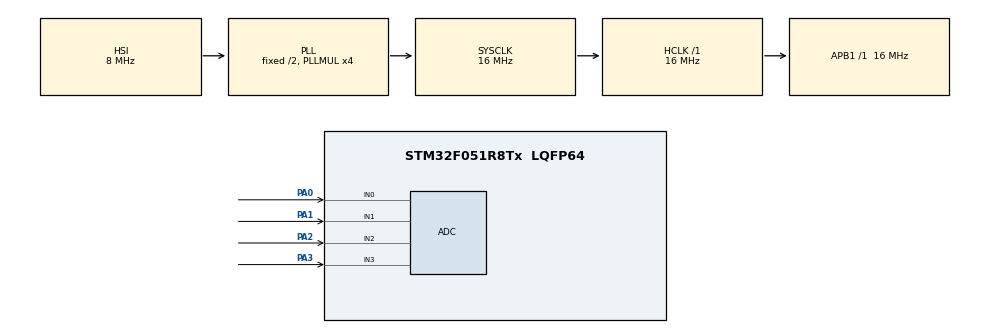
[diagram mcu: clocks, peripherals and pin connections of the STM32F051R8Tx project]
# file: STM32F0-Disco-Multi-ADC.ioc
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ADC.ContinuousConvMode=DISABLE
ADC.DMAContinuousRequests=ENABLE
ADC.EOCSelection=ADC_EOC_SINGLE_CONV
ADC.ExternalTrigConv=ADC_EXTERNALTRIGCONV_T1_TRGO
ADC.Overrun=ADC_OVR_DATA_OVERWRITTEN
ADC.SamplingTime=ADC_SAMPLETIME_71CYCLES_5
Dma.ADC.0.Direction=DMA_PERIPH_TO_MEMORY
Dma.ADC.0.Instance=DMA1_Channel1
Dma.ADC.0.MemDataAlignment=DMA_MDATAALIGN_WORD
Dma.ADC.0.MemInc=DMA_MINC_ENABLE
Dma.ADC.0.Mode=DMA_CIRCULAR
Dma.ADC.0.PeriphDataAlignment=DMA_PDATAALIGN_WORD
Dma.ADC.0.PeriphInc=DMA_PINC_DISABLE
Dma.ADC.0.Priority=DMA_PRIORITY_MEDIUM
Dma.Request0=ADC
Mcu.Family=STM32F0
Mcu.Name=STM32F051R8Tx
Mcu.Package=LQFP64
NVIC.DMA1_Channel1_IRQn=true\:0\:0\:false\:false\:true\:false\:true\:true
NVIC.TIM1_BRK_UP_TRG_COM_IRQn=true\:0\:0\:false\:false\:true\:true\:true\:true
PA0.Mode=IN0
PA0.Signal=ADC_IN0
PA1.Mode=IN1
PA1.Signal=ADC_IN1
PA13.Mode=Serial_Wire
PA13.Signal=SYS_SWDIO
PA14.Mode=Serial_Wire
PA14.Signal=SYS_SWCLK
PA2.Mode=IN2
PA2.Signal=ADC_IN2
PA3.Mode=IN3
PA3.Signal=ADC_IN3
PC14-OSC32_IN.Mode=LSE-External-Clock-Source
PC14-OSC32_IN.Signal=RCC_OSC32_IN
PF0-OSC_IN.Mode=HSE-External-Clock-Source
PF0-OSC_IN.Signal=RCC_OSC_IN
ProjectManager.HeapSize=0x200
ProjectManager.StackSize=0x400
ProjectManager.TargetToolchain=STM32CubeIDE
RCC.AHBFreq_Value=16000000
RCC.APB1Freq_Value=16000000
RCC.APB1TimFreq_Value=16000000
RCC.HCLKFreq_Value=16000000
RCC.PLLMUL=RCC_PLL_MUL4
RCC.SYSCLKFreq_VALUE=16000000
RCC.SYSCLKSource=RCC_SYSCLKSOURCE_PLLCLK
TIM1.TIM_MasterOutputTrigger=TIM_TRGO_UPDATE
VP_TIM1_VS_ClockSourceINT.Mode=Internal
board=custom

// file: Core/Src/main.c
/* USER CODE END Header */
#include "main.h"

/* USER CODE BEGIN Includes */
#include "stdio.h"
#include "string.h"
/* USER CODE END Includes */

ADC_HandleTypeDef hadc;

DMA_HandleTypeDef hdma_adc;

TIM_HandleTypeDef htim1;

void SystemClock_Config(void);
static void MX_GPIO_Init(void);
static void MX_DMA_Init(void);
static void MX_ADC_Init(void);
static void MX_TIM1_Init(void);

/* USER CODE BEGIN 0 */
uint32_t data[4];
uint32_t ADC_Buffer[4];

char IN0[16] ="";
char IN1[16] ="";
char IN2[16] ="";
char IN3[16] ="";

void HAL_ADC_ConvCpltCallback(ADC_HandleTypeDef* hadc)
{

	HAL_GPIO_TogglePin(GPIOC, GPIO_PIN_8);

	HAL_Delay(100);
/*
		for(int i = 0; i<4;i++)
		{
			data[i] = ADC_Buffer[i];
		}
*/
}
void ADC_DMAConvCplt(DMA_HandleTypeDef *hdma)
{
	HAL_GPIO_TogglePin(GPIOC, GPIO_PIN_8);

	HAL_Delay(100);
}

/* USER CODE END 0 */

int main(void)
{

  /* MCU Configuration--------------------------------------------------------*/

  /* Reset of all peripherals, Initializes the Flash interface and the Systick. */
  HAL_Init();

  /* Configure the system clock */
  SystemClock_Config();

  /* Initialize all configured peripherals */
  MX_GPIO_Init();
  MX_DMA_Init();
  MX_ADC_Init();
  MX_TIM1_Init();
  /* USER CODE BEGIN 2 */

  HAL_TIM_Base_Start_IT(&htim1);

  HAL_ADCEx_Calibration_Start(&hadc);

  /* USER CODE END 2 */

  HAL_ADC_Start_DMA(&hadc, (uint32_t*)ADC_Buffer, sizeof(ADC_Buffer)/sizeof(ADC_Buffer[0]));

  /* Infinite loop */
   while (1)
   {

    /* USER CODE BEGIN 3 */

 	  sprintf(IN0,"ADC IN0 =%d",(const char)ADC_Buffer[0]);
 	  sprintf(IN1,"ADC IN1 =%d",(const char)ADC_Buffer[1]);
 	  sprintf(IN2,"ADC IN2 =%d",(const char)ADC_Buffer[2]);
 	  sprintf(IN3,"ADC IN3 =%d",(const char)ADC_Buffer[3]);
   }
  /* USER CODE END 3 */
}

void SystemClock_Config(void)
{
  RCC_OscInitTypeDef RCC_OscInitStruct = {0};
  RCC_ClkInitTypeDef RCC_ClkInitStruct = {0};

  /** Initializes the RCC Oscillators according to the specified parameters
  * in the RCC_OscInitTypeDef structure.
  */
  RCC_OscInitStruct.OscillatorType = RCC_OSCILLATORTYPE_HSI|RCC_OSCILLATORTYPE_HSI14;
  RCC_OscInitStruct.HSIState = RCC_HSI_ON;
  RCC_OscInitStruct.HSI14State = RCC_HSI14_ON;
  RCC_OscInitStruct.HSICalibrationValue = RCC_HSICALIBRATION_DEFAULT;
  RCC_OscInitStruct.HSI14CalibrationValue = 16;
  RCC_OscInitStruct.PLL.PLLState = RCC_PLL_ON;
  RCC_OscInitStruct.PLL.PLLSource = RCC_PLLSOURCE_HSI;
  RCC_OscInitStruct.PLL.PLLMUL = RCC_PLL_MUL4;
  RCC_OscInitStruct.PLL.PREDIV = RCC_PREDIV_DIV1;
  if (HAL_RCC_OscConfig(&RCC_OscInitStruct) != HAL_OK)
  {
    Error_Handler();
  }

  /** Initializes the CPU, AHB and APB buses clocks
  */
  RCC_ClkInitStruct.ClockType = RCC_CLOCKTYPE_HCLK|RCC_CLOCKTYPE_SYSCLK
                              |RCC_CLOCKTYPE_PCLK1;
  RCC_ClkInitStruct.SYSCLKSource = RCC_SYSCLKSOURCE_PLLCLK;
  RCC_ClkInitStruct.AHBCLKDivider = RCC_SYSCLK_DIV1;
  RCC_ClkInitStruct.APB1CLKDivider = RCC_HCLK_DIV1;

  if (HAL_RCC_ClockConfig(&RCC_ClkInitStruct, FLASH_LATENCY_0) != HAL_OK)
  {
    Error_Handler();
  }
}

static void MX_ADC_Init(void)
{

  ADC_ChannelConfTypeDef sConfig = {0};

  /** Configure the global features of the ADC (Clock, Resolution, Data Alignment and number of conversion)
  */
  hadc.Instance = ADC1;
  hadc.Init.ClockPrescaler = ADC_CLOCK_ASYNC_DIV1;
  hadc.Init.Resolution = ADC_RESOLUTION_12B;
  hadc.Init.DataAlign = ADC_DATAALIGN_RIGHT;
  hadc.Init.ScanConvMode = ADC_SCAN_DIRECTION_FORWARD;
  hadc.Init.EOCSelection = ADC_EOC_SINGLE_CONV;
  hadc.Init.LowPowerAutoWait = DISABLE;
  hadc.Init.LowPowerAutoPowerOff = DISABLE;
  hadc.Init.ContinuousConvMode = DISABLE;
  hadc.Init.DiscontinuousConvMode = DISABLE;
  hadc.Init.ExternalTrigConv = ADC_EXTERNALTRIGCONV_T1_TRGO;
  hadc.Init.ExternalTrigConvEdge = ADC_EXTERNALTRIGCONVEDGE_RISING;
  hadc.Init.DMAContinuousRequests = ENABLE;
  hadc.Init.Overrun = ADC_OVR_DATA_OVERWRITTEN;
  if (HAL_ADC_Init(&hadc) != HAL_OK)
  {
    Error_Handler();
  }

  /** Configure for the selected ADC regular channel to be converted.
  */
  sConfig.Channel = ADC_CHANNEL_0;
  sConfig.Rank = ADC_RANK_CHANNEL_NUMBER;
  sConfig.SamplingTime = ADC_SAMPLETIME_71CYCLES_5;
  if (HAL_ADC_ConfigChannel(&hadc, &sConfig) != HAL_OK)
  {
    Error_Handler();
  }

  /** Configure for the selected ADC regular channel to be converted.
  */
  sConfig.Channel = ADC_CHANNEL_1;
  if (HAL_ADC_ConfigChannel(&hadc, &sConfig) != HAL_OK)
  {
    Error_Handler();
  }

  /** Configure for the selected ADC regular channel to be converted.
  */
  sConfig.Channel = ADC_CHANNEL_2;
  if (HAL_ADC_ConfigChannel(&hadc, &sConfig) != HAL_OK)
  {
    Error_Handler();
  }

  /** Configure for the selected ADC regular channel to be converted.
  */
  sConfig.Channel = ADC_CHANNEL_3;
  if (HAL_ADC_ConfigChannel(&hadc, &sConfig) != HAL_OK)
  {
    Error_Handler();
  }

}

static void MX_TIM1_Init(void)
{

  TIM_ClockConfigTypeDef sClockSourceConfig = {0};
  TIM_MasterConfigTypeDef sMasterConfig = {0};

  htim1.Instance = TIM1;
  htim1.Init.Prescaler = 0;
  htim1.Init.CounterMode = TIM_COUNTERMODE_UP;
  htim1.Init.Period = 65535;
  htim1.Init.ClockDivision = TIM_CLOCKDIVISION_DIV1;
  htim1.Init.RepetitionCounter = 0;
  htim1.Init.AutoReloadPreload = TIM_AUTORELOAD_PRELOAD_DISABLE;
  if (HAL_TIM_Base_Init(&htim1) != HAL_OK)
  {
    Error_Handler();
  }
  sClockSourceConfig.ClockSource = TIM_CLOCKSOURCE_INTERNAL;
  if (HAL_TIM_ConfigClockSource(&htim1, &sClockSourceConfig) != HAL_OK)
  {
    Error_Handler();
  }
  sMasterConfig.MasterOutputTrigger = TIM_TRGO_UPDATE;
  sMasterConfig.MasterSlaveMode = TIM_MASTERSLAVEMODE_DISABLE;
  if (HAL_TIMEx_MasterConfigSynchronization(&htim1, &sMasterConfig) != HAL_OK)
  {
    Error_Handler();
  }

}

static void MX_DMA_Init(void)
{

  /* DMA controller clock enable */
  __HAL_RCC_DMA1_CLK_ENABLE();

  /* DMA interrupt init */
  /* DMA1_Channel1_IRQn interrupt configuration */
  HAL_NVIC_SetPriority(DMA1_Channel1_IRQn, 0, 0);
  HAL_NVIC_EnableIRQ(DMA1_Channel1_IRQn);

}

static void MX_GPIO_Init(void)
{

  /* GPIO Ports Clock Enable */
  __HAL_RCC_GPIOC_CLK_ENABLE();
  __HAL_RCC_GPIOF_CLK_ENABLE();
  __HAL_RCC_GPIOA_CLK_ENABLE();

}

void Error_Handler(void)
{
  __disable_irq();
  while (1)
  {
  }
}
